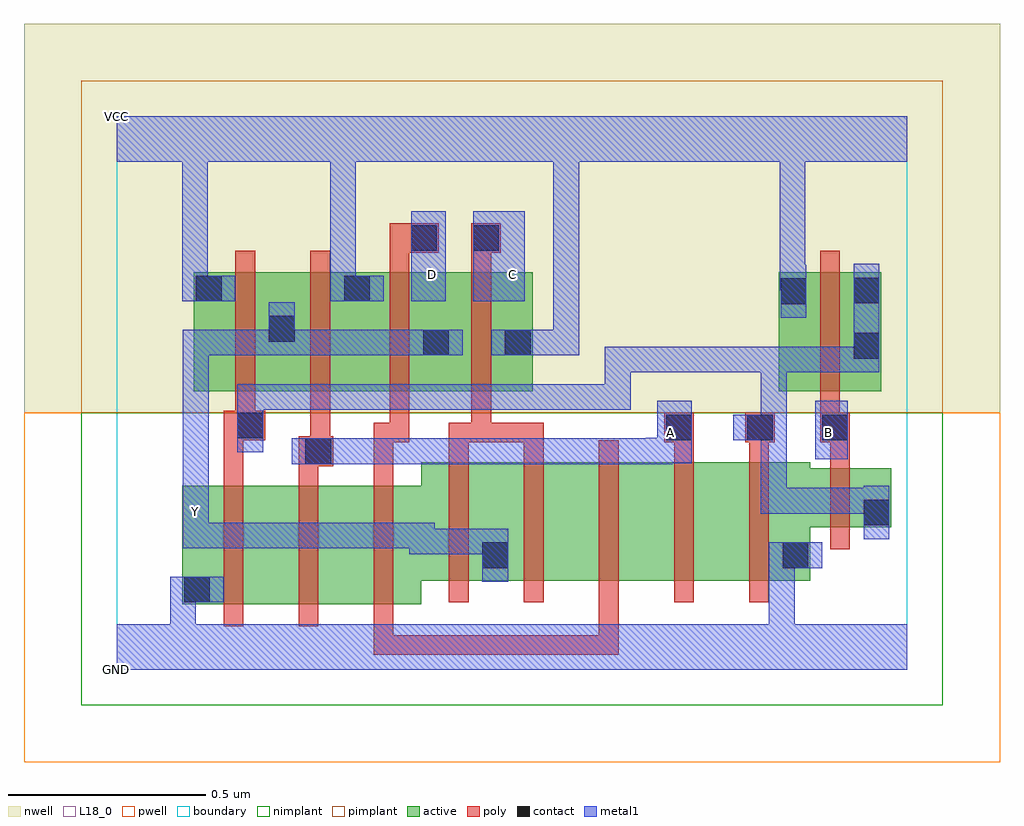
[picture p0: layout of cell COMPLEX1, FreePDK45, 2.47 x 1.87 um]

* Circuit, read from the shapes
.subckt COMPLEX1 A B C D GND VCC Y
M1 n1 n2 GND VSUBS nfet w=0.3u l=0.05u
M2 n3 A n1 VSUBS nfet w=0.3u l=0.05u
M3 n4 D n3 VSUBS nfet w=0.3u l=0.05u
M4 Y C n4 VSUBS nfet w=0.3u l=0.05u
M5 n5 C Y VSUBS nfet w=0.3u l=0.05u
M6 n6 D n5 VSUBS nfet w=0.3u l=0.05u
M7 n7 A n6 VSUBS nfet w=0.3u l=0.05u
M8 GND n2 n7 VSUBS nfet w=0.3u l=0.05u
M9 n2 B GND VSUBS nfet w=0.15u l=0.05u
M10 Y n2 VCC n8 pfet w=0.3u l=0.05u
M11 VCC A Y n8 pfet w=0.3u l=0.05u
M12 Y D VCC n8 pfet w=0.3u l=0.05u
M13 VCC C Y n8 pfet w=0.3u l=0.05u
M14 n2 B VCC n8 pfet w=0.3u l=0.05u
.ends

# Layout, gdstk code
import gdstk
lib = gdstk.Library(unit=1e-6, precision=1e-09)
def R(c, l, rs):  # rectangles x0, y0, x1, y1
    for r in rs: c.add(gdstk.rectangle(r[:2], r[2:], *l))
def A(c, l, x, y, w, h, nx, ny, dx, dy):  # array of equal rectangles
    R(c, l, [(x+i*dx, y+j*dy, x+i*dx+w, y+j*dy+h) for i in range(nx) for j in range(ny)])
active = (1, 0)
pwell = (2, 0)
nwell = (3, 0)
nimplant = (4, 0)
pimplant = (5, 0)
poly = (9, 0)
contact = (10, 0)
metal1 = (11, 0)
L18_0 = (18, 0)
boundary = (235, 0)

complex1 = lib.new_cell('COMPLEX1')
R(complex1, active, [(0.165,0.165,0.39,0.465), (0.165,0.165,0.24,0.465), (0.39,0.165,0.58,0.465), (0.58,0.165,0.77,0.465), (0.77,0.225,0.995,0.525), (0.92,0.225,1.15,0.525), (1.15,0.225,1.34,0.525), (1.34,0.225,1.53,0.525), (1.53,0.225,1.755,0.525), (1.68,0.225,1.755,0.51), (0.92,0.235,0.995,0.517), (1.68,0.36,1.96,0.51), (1.885,0.36,1.96,0.51), (0.195,0.705,0.27,1.005), (0.195,0.705,0.455,1.005), (0.38,0.705,0.645,1.005), (0.57,0.705,0.845,1.005), (0.77,0.705,0.845,1.005), (0.77,0.705,1.052,1.005), (0.977,0.705,1.052,1.005), (1.675,0.705,1.75,1.005), (1.675,0.705,1.935,1.005), (1.86,0.705,1.935,1.005), (0.38,0.737,0.455,1.005), (0.57,0.867,0.645,1.005)])
R(complex1, pwell, [(-0.235,-0.235,2.235,0.65)])
R(complex1, nwell, [(-0.235,0.65,2.235,1.635)])
R(complex1, nimplant, [(-0.09,-0.09,2.09,0.65)])
R(complex1, pimplant, [(-0.09,0.65,2.09,1.49)])
A(complex1, poly, 0.27, 0.11, 0.05, 0.41, 3, 1, 0.19, 0)
A(complex1, poly, 0.84, 0.17, 0.05, 0.41, 5, 1, 0.19, 0)
R(complex1, poly, [(0.65,0.037,0.7,0.087), (0.65,0.037,0.7,0.087), (0.65,0.037,0.7,0.087), (0.65,0.037,0.947,0.087), (0.65,0.037,0.7,0.16), (0.897,0.037,0.947,0.087), (0.897,0.037,0.947,0.087), (0.897,0.037,0.947,0.087), (0.897,0.037,1.137,0.087), (1.087,0.037,1.137,0.087), (1.087,0.037,1.27,0.087), (1.22,0.037,1.27,0.22), (1.22,0.037,1.27,0.087), (1.22,0.037,1.27,0.087), (1.22,0.037,1.27,0.087), (1.805,0.305,1.855,0.565), (0.27,0.47,0.32,0.63), (0.46,0.47,0.51,0.565), (0.65,0.47,0.7,0.625), (0.46,0.515,0.547,0.59), (1.805,0.515,1.855,0.625), (0.84,0.53,0.89,0.625), (1.03,0.53,1.08,0.625), (1.41,0.53,1.46,0.625), (1.6,0.53,1.65,0.625), (0.49,0.54,0.54,0.7), (0.65,0.575,0.74,0.625), (0.69,0.575,0.74,0.7), (0.84,0.575,0.947,0.625), (0.897,0.575,0.947,0.625), (0.897,0.575,0.947,0.625), (0.897,0.575,1.08,0.625), (0.897,0.575,0.947,0.7), (1.03,0.575,1.08,0.625), (1.385,0.575,1.46,0.65), (1.59,0.575,1.665,0.65), (1.78,0.575,1.855,0.65), (0.27,0.58,0.375,0.655), (1.78,0.6,1.83,0.7), (0.3,0.605,0.35,0.7), (0.3,0.65,0.35,1.06), (0.49,0.65,0.54,1.06), (0.69,0.65,0.74,1.06), (0.897,0.65,0.947,1.06), (1.78,0.65,1.83,1.06), (0.69,1.01,0.74,1.105), (0.897,1.01,0.947,1.105), (0.69,1.055,0.815,1.13), (0.897,1.055,0.972,1.13)])
R(complex1, contact, [(0.17,0.17,0.235,0.235), (0.925,0.257,0.99,0.322), (1.685,0.257,1.75,0.322), (1.89,0.365,1.955,0.43), (0.477,0.52,0.542,0.585), (1.39,0.58,1.455,0.645), (1.595,0.58,1.66,0.645), (1.785,0.58,1.85,0.645), (0.305,0.585,0.37,0.65), (1.865,0.787,1.93,0.852), (0.775,0.795,0.84,0.86), (0.982,0.795,1.047,0.86), (0.385,0.83,0.45,0.895), (1.68,0.925,1.745,0.99), (1.865,0.927,1.93,0.992), (0.2,0.932,0.265,0.997), (0.575,0.932,0.64,0.997), (0.745,1.06,0.81,1.125), (0.902,1.06,0.967,1.125)])
R(complex1, metal1, [(0,0,2,0.115), (0.135,0.05,0.2,0.115), (0.135,0.05,0.2,0.115), (0.135,0.05,0.2,0.235), (1.65,0.05,1.715,0.115), (1.65,0.05,1.715,0.115), (1.65,0.05,1.715,0.322), (0.135,0.17,0.27,0.235), (0.925,0.222,0.99,0.357), (1.65,0.257,1.785,0.322), (0.74,0.292,0.805,0.357), (0.74,0.292,0.805,0.357), (0.74,0.292,0.99,0.357), (0.74,0.292,0.805,0.372), (0.925,0.292,0.99,0.357), (0.925,0.292,0.99,0.357), (0.167,0.307,0.232,0.372), (0.167,0.307,0.232,0.372), (0.167,0.307,0.232,0.372), (0.167,0.307,0.37,0.372), (0.167,0.307,0.232,0.397), (0.305,0.307,0.37,0.372), (0.305,0.307,0.667,0.372), (0.602,0.307,0.667,0.372), (0.602,0.307,0.667,0.372), (0.602,0.307,0.667,0.372), (0.602,0.307,0.805,0.372), (1.89,0.33,1.955,0.465), (0.167,0.332,0.232,0.467), (1.63,0.395,1.695,0.46), (1.63,0.395,1.955,0.46), (1.63,0.395,1.695,0.645), (1.89,0.395,1.955,0.46), (1.89,0.395,1.955,0.46), (0.167,0.402,0.232,0.86), (0.442,0.52,0.577,0.585), (0.512,0.52,0.587,0.585), (0.522,0.52,0.587,0.585), (0.522,0.52,0.805,0.585), (0.74,0.52,0.805,0.585), (0.74,0.52,0.805,0.585), (0.74,0.52,0.805,0.585), (0.74,0.52,1.03,0.585), (0.965,0.52,1.03,0.585), (0.965,0.52,1.13,0.585), (1.065,0.52,1.13,0.585), (1.065,0.52,1.167,0.585), (1.102,0.52,1.167,0.585), (1.102,0.52,1.267,0.585), (1.202,0.52,1.267,0.585), (1.202,0.52,1.3,0.585), (1.235,0.52,1.3,0.585), (1.235,0.52,1.405,0.585), (1.34,0.52,1.405,0.587), (1.34,0.522,1.432,0.587), (1.367,0.522,1.455,0.68), (1.767,0.532,1.85,0.68), (0.305,0.55,0.37,0.685), (1.56,0.58,1.695,0.645), (1.63,0.58,1.695,0.645), (1.63,0.58,1.695,0.645), (1.63,0.58,1.695,0.817), (0.305,0.62,0.37,0.685), (0.305,0.62,0.37,0.685), (0.305,0.62,0.37,0.722), (0.305,0.657,0.37,0.722), (0.305,0.657,0.667,0.722), (0.602,0.657,0.667,0.722), (0.602,0.657,0.667,0.722), (0.602,0.657,0.667,0.722), (0.602,0.657,0.805,0.722), (0.74,0.657,0.805,0.722), (0.74,0.657,0.805,0.722), (0.74,0.657,0.805,0.722), (0.74,0.657,1.03,0.722), (0.965,0.657,1.03,0.722), (0.965,0.657,1.03,0.722), (0.965,0.657,1.03,0.722), (0.965,0.657,1.167,0.722), (1.102,0.657,1.167,0.722), (1.102,0.657,1.267,0.722), (1.202,0.657,1.267,0.722), (1.202,0.657,1.3,0.722), (1.235,0.657,1.3,0.817), (1.235,0.752,1.405,0.817), (1.34,0.752,1.405,0.817), (1.34,0.752,1.44,0.817), (1.375,0.752,1.44,0.817), (1.375,0.752,1.542,0.817), (1.477,0.752,1.542,0.817), (1.477,0.752,1.695,0.817), (1.63,0.752,1.695,0.817), (1.63,0.752,1.695,0.817), (1.63,0.752,1.695,0.817), (1.63,0.752,1.93,0.817), (1.865,0.752,1.93,0.817), (1.865,0.752,1.93,0.817), (1.865,0.752,1.93,1.027), (0.167,0.795,0.232,0.86), (0.167,0.795,0.232,0.86), (0.167,0.795,0.232,0.86), (0.167,0.795,0.232,0.86), (0.167,0.795,0.232,0.86), (0.167,0.795,0.45,0.86), (0.385,0.795,0.45,0.93), (0.385,0.795,0.667,0.86), (0.602,0.795,0.667,0.86), (0.602,0.795,0.667,0.86), (0.602,0.795,0.667,0.86), (0.602,0.795,0.805,0.86), (0.74,0.795,0.805,0.86), (0.74,0.795,0.805,0.86), (0.74,0.795,0.875,0.86), (0.947,0.795,1.17,0.86), (1.105,0.795,1.17,1.35), (1.68,0.89,1.745,1.025), (0.165,0.932,0.3,0.997), (0.165,0.932,0.23,1.35), (0.54,0.932,0.675,0.997), (0.54,0.932,0.605,1.35), (0.745,0.932,0.832,1.16), (0.902,0.932,1.032,1.16), (1.677,0.96,1.742,1.025), (1.677,0.96,1.742,1.025), (1.677,0.96,1.742,1.35), (1.677,0.96,1.745,1.025), (1.68,0.96,1.745,1.025), (0,1.285,2,1.4), (0.165,1.285,0.23,1.35), (0.165,1.285,0.23,1.35), (0.165,1.285,0.23,1.35), (0.165,1.285,0.23,1.35), (0.54,1.285,0.605,1.35), (0.54,1.285,0.605,1.35), (0.54,1.285,0.605,1.35), (0.54,1.285,0.605,1.35), (1.105,1.285,1.17,1.35), (1.105,1.285,1.17,1.35), (1.105,1.285,1.17,1.35), (1.105,1.285,1.17,1.35)])
R(complex1, L18_0, [(0,0,2,0.115), (0.135,0.05,0.2,0.115), (0.135,0.05,0.2,0.115), (0.135,0.05,0.2,0.235), (1.65,0.05,1.715,0.115), (1.65,0.05,1.715,0.115), (1.65,0.05,1.715,0.322), (0.135,0.17,0.27,0.235), (0.925,0.222,0.99,0.357), (1.65,0.257,1.785,0.322), (0.74,0.292,0.805,0.357), (0.74,0.292,0.805,0.357), (0.74,0.292,0.805,0.372), (0.74,0.292,0.99,0.357), (0.925,0.292,0.99,0.357), (0.925,0.292,0.99,0.357), (0.167,0.307,0.232,0.372), (0.167,0.307,0.232,0.372), (0.167,0.307,0.232,0.372), (0.167,0.307,0.232,0.397), (0.167,0.307,0.37,0.372), (0.305,0.307,0.37,0.372), (0.305,0.307,0.667,0.372), (0.602,0.307,0.667,0.372), (0.602,0.307,0.667,0.372), (0.602,0.307,0.667,0.372), (0.602,0.307,0.805,0.372), (0.167,0.332,0.232,0.467), (0.167,0.367,0.232,0.432), (0.167,0.402,0.232,0.86), (0.442,0.52,0.577,0.585), (0.512,0.52,0.587,0.585), (0.522,0.52,0.587,0.585), (0.522,0.52,0.805,0.585), (0.74,0.52,0.805,0.585), (0.74,0.52,0.805,0.585), (0.74,0.52,0.805,0.585), (0.74,0.52,1.03,0.585), (0.965,0.52,1.03,0.585), (0.965,0.52,1.13,0.585), (1.065,0.52,1.13,0.585), (1.065,0.52,1.167,0.585), (1.102,0.52,1.167,0.585), (1.102,0.52,1.267,0.585), (1.202,0.52,1.267,0.585), (1.202,0.52,1.3,0.585), (1.235,0.52,1.3,0.585), (1.235,0.52,1.405,0.585), (1.34,0.52,1.405,0.587), (1.34,0.522,1.432,0.587), (1.367,0.522,1.455,0.68), (1.767,0.532,1.85,0.68), (1.367,0.567,1.432,0.632), (1.767,0.567,1.832,0.632), (0.167,0.795,0.232,0.86), (0.167,0.795,0.232,0.86), (0.167,0.795,0.232,0.86), (0.167,0.795,0.232,0.86), (0.167,0.795,0.232,0.86), (0.167,0.795,0.45,0.86), (0.385,0.795,0.45,0.93), (0.385,0.795,0.667,0.86), (0.602,0.795,0.667,0.86), (0.602,0.795,0.667,0.86), (0.602,0.795,0.667,0.86), (0.602,0.795,0.805,0.86), (0.74,0.795,0.805,0.86), (0.74,0.795,0.805,0.86), (0.74,0.795,0.875,0.86), (0.947,0.795,1.17,0.86), (1.105,0.795,1.17,1.35), (1.68,0.89,1.745,1.025), (0.165,0.932,0.3,0.997), (0.165,0.932,0.23,1.35), (0.54,0.932,0.675,0.997), (0.54,0.932,0.605,1.35), (0.745,0.932,0.832,1.16), (0.902,0.932,1.032,1.16), (1.677,0.96,1.742,1.025), (1.677,0.96,1.742,1.025), (1.677,0.96,1.745,1.025), (1.677,0.96,1.742,1.35), (1.68,0.96,1.745,1.025), (0.767,0.967,0.832,1.032), (0.967,0.967,1.032,1.032), (0,1.285,2,1.4), (0.165,1.285,0.23,1.35), (0.165,1.285,0.23,1.35), (0.165,1.285,0.23,1.35), (0.165,1.285,0.23,1.35), (0.54,1.285,0.605,1.35), (0.54,1.285,0.605,1.35), (0.54,1.285,0.605,1.35), (0.54,1.285,0.605,1.35), (1.105,1.285,1.17,1.35), (1.105,1.285,1.17,1.35), (1.105,1.285,1.17,1.35), (1.105,1.285,1.17,1.35)])
R(complex1, boundary, [(0,0,2,1.4)])
complex1.add(gdstk.Label('A', (1.4,0.6), layer=11, texttype=0))
complex1.add(gdstk.Label('B', (1.8,0.6), layer=11, texttype=0))
complex1.add(gdstk.Label('C', (1,1), layer=11, texttype=0))
complex1.add(gdstk.Label('D', (0.8,1), layer=11, texttype=0))
complex1.add(gdstk.Label('Y', (0.2,0.4), layer=11, texttype=0))
complex1.add(gdstk.Label('VCC', (0,1.4), layer=11, texttype=0))
complex1.add(gdstk.Label('GND', (0,0), layer=11, texttype=0))

lib.write_gds('COMPLEX1.gds')
